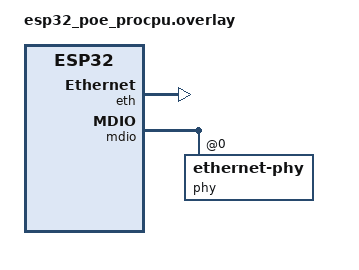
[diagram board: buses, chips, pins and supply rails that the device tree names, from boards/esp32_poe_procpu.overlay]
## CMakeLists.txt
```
cmake_minimum_required(VERSION 3.20.0)
find_package(Zephyr REQUIRED HINTS $ENV{ZEPHYR_BASE})
project(gateway)

include_directories(include)

FILE(GLOB app_sources src/*.c)
target_sources(app PRIVATE ${app_sources})
```

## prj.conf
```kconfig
# ============================================================
# Combined: BLE Central + Ethernet + Oracle MQTT Bridge
# Target: esp32_poe/esp32/procpu  (WROOM — no PSRAM)
#
# NOTE: MbedTLS removed — MQTT connects plaintext to Oracle Cloud VM
# which bridges to Azure IoT Hub over TLS server-side.
# Production path: ESP32-WROVER + restore TLS config below.
# ============================================================

# –– Core ––
CONFIG_INIT_STACKS=y
CONFIG_MAIN_STACK_SIZE=2048
CONFIG_SYSTEM_WORKQUEUE_STACK_SIZE=1536
CONFIG_PRINTK=y
CONFIG_CBPRINTF_FP_SUPPORT=y

# –– Logging ––
CONFIG_LOG=y
CONFIG_LOG_DEFAULT_LEVEL=3
CONFIG_LOG_MODE_DEFERRED=y
CONFIG_LOG_BUFFER_SIZE=512
CONFIG_LOG_BACKEND_UART=y
CONFIG_SHELL=n
CONFIG_SHELL_LOG_BACKEND=n

# –– JSON / UUID ––
CONFIG_JSON_LIBRARY=y
CONFIG_UUID=y
CONFIG_UUID_V4=y

# –– Peripherals ––
CONFIG_GPIO=y
CONFIG_I2C=y
CONFIG_SENSOR=y

# –– Bluetooth Central (GATT client) ––
CONFIG_BT=y
CONFIG_BT_CENTRAL=y
CONFIG_BT_PERIPHERAL=n
CONFIG_BT_GATT_CLIENT=y
CONFIG_BT_MAX_CONN=1
CONFIG_BT_MAX_PAIRED=0
CONFIG_BT_SMP=y
CONFIG_BT_SMP_SC_ONLY=n
CONFIG_BT_BONDABLE=n
CONFIG_BT_BUF_ACL_RX_SIZE=69
CONFIG_BT_BUF_ACL_TX_SIZE=69
CONFIG_BT_L2CAP_TX_MTU=65
CONFIG_BT_L2CAP_TX_BUF_COUNT=3
CONFIG_BT_CONN_TX_MAX=3

# –– Networking Core ––
CONFIG_NETWORKING=y
CONFIG_NET_MGMT=y
CONFIG_NET_MGMT_EVENT=y
CONFIG_NET_MGMT_EVENT_INFO=y
CONFIG_NET_CONFIG_AUTO_INIT=n
CONFIG_NET_CONFIG_SETTINGS=n

# –– Ethernet ––
CONFIG_NET_L2_ETHERNET=y
CONFIG_ETH_DRIVER=y
CONFIG_ETH_ESP32=y

# –– IP / DHCP / Sockets ––
CONFIG_NET_IPV4=y
CONFIG_NET_IPV6=n
CONFIG_NET_DHCPV4=y
CONFIG_NET_TCP=y
CONFIG_NET_SOCKETS=y
CONFIG_POSIX_API=y

# –– DNS ––
CONFIG_DNS_RESOLVER=y
CONFIG_DNS_RESOLVER_AI_MAX_ENTRIES=2

# –– MQTT (plaintext — no TLS) ––
CONFIG_MQTT_LIB=y
CONFIG_MQTT_LIB_TLS=n
CONFIG_MQTT_KEEPALIVE=10

# –– Network Buffers ––
CONFIG_NET_TX_STACK_SIZE=1536
CONFIG_NET_RX_STACK_SIZE=1536
CONFIG_NET_MAX_CONTEXTS=6
CONFIG_NET_PKT_RX_COUNT=12
CONFIG_NET_PKT_TX_COUNT=8
CONFIG_NET_BUF_RX_COUNT=24
CONFIG_NET_BUF_TX_COUNT=16
CONFIG_NET_BUF_DATA_SIZE=512

# –– SNTP ––
CONFIG_SNTP=y

# –– ESP32 memory ––
CONFIG_ESP32_REGION_1_NOINIT=y
```

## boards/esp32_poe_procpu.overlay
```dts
/*
 * esp32_poe_procpu.overlay
 * Place this file in your application source directory:
 *   /Users/ryan/csse4011/repo/prac2/GatewayEthernet/boards/esp32_poe_procpu.overlay
 *
 * Enables the onboard LAN8720 Ethernet PHY.
 * The &eth and &mdio nodes exist in the board DTS but are disabled by default.
 */

&eth {
    status = "okay";
};

&mdio {
    status = "okay";

    phy: ethernet-phy@0 {
        status = "okay";
    };
};
```

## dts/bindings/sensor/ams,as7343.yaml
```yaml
# SPDX-License-Identifier: Apache-2.0
description: AMS AS7343 multispectral light sensor

compatible: "ams,as7343"

include: ["i2c-device.yaml"]

properties:
  reg:
    required: true
    description: I2C address (default 0x39)
```

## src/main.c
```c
/*
 * main.c — Combined BLE Central + Ethernet + Azure IoT Hub Gateway
 *          Target: esp32_poe/esp32/procpu
 *
 * Boot sequence:
 *   1. Ethernet thread — brings up LAN8720, obtains DHCP lease (blocks)
 *   2. Azure MQTT thread — connects to IoT Hub, keepalive loop
 *   3. SNTP sync — sets UTC reference for time_sync_writer
 *   4. BLE threads — scan, connect to sensor nodes, decode + publish
 */

#include <zephyr/kernel.h>
#include <zephyr/logging/log.h>

#include "ethernet.h"        /* replaces wifi.h */
#include "azure_mqtt.h"
#include "bluetooth.h"
#include "sntp_sync.h"

LOG_MODULE_REGISTER(main, LOG_LEVEL_INF);

#define ETH_THREAD_STACK  2048   // was 4096 — thread just does DHCP then exits
#define ETH_THREAD_PRIO   4

K_THREAD_STACK_DEFINE(eth_stack, ETH_THREAD_STACK);
static struct k_thread eth_tid;

/*
 * BLE threads — uncomment and adjust delay once Ethernet + Azure are stable.
 * Delay is 15s: Ethernet/DHCP ~3s + MQTT connect ~5s + margin.
 */
K_THREAD_DEFINE(process_data_tid,
                BASE_PROCESS_STACK_SIZE,
                process_data_thread,
                NULL, NULL, NULL,
                BASE_PROCESS_PRIORITY, 0,
                15000);   // was 15000

K_THREAD_DEFINE(base_tid,
                BASE_CONTROL_STACK_SIZE,
                base_thread,
                NULL, NULL, NULL,
                BASE_CONTROL_PRIORITY, 0,
                15000);   // was 15000

int main(void)
{
    LOG_INF("=== Combined BLE+Ethernet Gateway starting (ESP32-POE) ===");

    /*
     * Start the Ethernet thread and wait for it to return.
     * It only returns after a DHCP lease is obtained.
     */
    k_thread_create(&eth_tid,
                    eth_stack,
                    K_THREAD_STACK_SIZEOF(eth_stack),
                    (k_thread_entry_t)ethernet_thread,
                    NULL, NULL, NULL,
                    ETH_THREAD_PRIO, 0, K_NO_WAIT);
    k_thread_name_set(&eth_tid, "ethernet");
    k_thread_join(&eth_tid, K_FOREVER);   /* block until IP obtained */

    LOG_INF("Ethernet ready — starting Azure MQTT");
    azure_mqtt_thread_start();

    /* Give MQTT a moment to complete TLS handshake before SNTP DNS */
    k_sleep(K_SECONDS(3));

    LOG_INF("Starting SNTP sync");
    sntp_sync_start();

    LOG_INF("Boot complete — BLE threads will start in ~15s");

    return 0;
}
```

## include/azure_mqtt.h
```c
#ifndef AZURE_MQTT_H_
#define AZURE_MQTT_H_

#include <zephyr/kernel.h>
#include <zephyr/net/mqtt.h>

/* -----------------------------------------------------------------------
 * USER CONFIGURATION — fill these in before building
 * --------------------------------------------------------------------- */

/* Oracle Cloud MQTT bridge — plaintext, no TLS required on device.
 * Bridge forwards to Azure IoT Hub over TLS server-side.
 * For production replace with ESP32-WROVER and direct Azure connection. */
#define AZURE_IOT_HUB_HOSTNAME   "161.33.232.177"

/* Device ID registered in your IoT Hub */
#define AZURE_DEVICE_ID          "esp32-device-01"

/* SAS Token — only used for direct Azure connection (TLS mode).
 * Not required for plaintext bridge connection but kept for reference. */
#define AZURE_SAS_TOKEN "SharedAccessSignature sr=iot-hub-esp32-Ryan-Smith.azure-devices.net%2Fdevices%2Fesp32-device-01&sig=dUYE4NNWdgzFTPBah8Z%2FssE2rk3ZYL1sSnihWJBwS%2Fw%3D&se=1774250233"

/* Root CA cert — not used in plaintext bridge mode.
 * Kept for reference for production WROVER deployment. */
#define AZURE_ROOT_CA_CERT \
"-----BEGIN CERTIFICATE-----\r\n"\
"MIIDjjCCAnagAwIBAgIQAzrx5qcRqaC7KGSxHQn65TANBgkqhkiG9w0BAQsFADBh\r\n"\
"MQswCQYDVQQGEwJVUzEVMBMGA1UEChMMRGlnaUNlcnQgSW5jMRkwFwYDVQQLExB3\r\n"\
"d3cuZGlnaWNlcnQuY29tMSAwHgYDVQQDExdEaWdpQ2VydCBHbG9iYWwgUm9vdCBH\r\n"\
"MjAeFw0xMzA4MDExMjAwMDBaFw0zODAxMTUxMjAwMDBaMGExCzAJBgNVBAYTAlVT\r\n"\
"MRUwEwYDVQQKEwxEaWdpQ2VydCBJbmMxGTAXBgNVBAsTEHd3dy5kaWdpY2VydC5j\r\n"\
"b20xIDAeBgNVBAMTF0RpZ2lDZXJ0IEdsb2JhbCBSb290IEcyMIIBIjANBgkqhkiG\r\n"\
"9w0BAQEFAAOCAQ8AMIIBCgKCAQEAuzfNNNx7a8myaJCtSnX/RrohCgiN9RlUyfuI\r\n"\
"2/Ou8jqJkTx65qsGGmvPrC3oXgkkRLpimn7Wo6h+4FR1IAWsULecYxpsMNzaHxmx\r\n"\
"1x7e/dfgy5SDN67sH0NO3Xss0r0upS/kqbitOtSZpLYl6ZtrAGCSYP9PIUkY92eQ\r\n"\
"q2EGnI/yuum06ZIya7XzV+hdG82MHauVBJVJ8zUtluNJbd134/tJS7SsVQepj5Wz\r\n"\
"tCO7TG1F8PapspUwtP1MVYwnSlcUfIKdzXOS0xZKBgyMUNGPHgm+F6HmIcr9g+UQ\r\n"\
"vIOlCsRnKPZzFBQ9RnbDhxSJITRNrw9FDKZJobq7nMWxM4MphQIDAQABo0IwQDAP\r\n"\
"BgNVHRMBAf8EBTADAQH/MA4GA1UdDwEB/wQEAwIBhjAdBgNVHQ4EFgQUTiJUIBiV\r\n"\
"5uNu5g/6+rkS7QYXjzkwDQYJKoZIhvcNAQELBQADggEBAGBnKJRvDkhj6zHd6mcY\r\n"\
"1Yl9PMWLSn/pvtsrF9+wX3N3KjITOYFnQoQj8kVnNeyIv/iPsGEMNKSuIEyExtv4\r\n"\
"NeF22d+mQrvHRAiGfzZ0JFrabA0UWTW98kndth/Jsw1HKj2ZL7tcu7XUIOGZX1NG\r\n"\
"Fdtom/DzMNU+MeKNhJ7jitralj41E6Vf8PlwUHBHQRFXGU7Aj64GxJUTFy8bJZ91\r\n"\
"8rGOmaFvE7FBcf6IKshPECBV1/MUReXgRPTqh5Uykw7+U0b6LJ3/iyK5S9kJRaTe\r\n"\
"pLiaWN0bfVKfjllDiIGknibVb63dDcY3fe0Dkhvld1927jyNxF1WW6LZZm6zNTfl\r\n"\
"MrY=\r\n"\
"-----END CERTIFICATE-----\r\n"

/* -----------------------------------------------------------------------
 * MQTT connection settings
 * --------------------------------------------------------------------- */
/* Plaintext port for Oracle bridge — no TLS on device */
#define AZURE_MQTT_PORT      1883
#define AZURE_MQTT_CLIENT_ID AZURE_DEVICE_ID

/* Username/password not required for anonymous Oracle bridge connection */
#define AZURE_MQTT_USERNAME  ""
#define AZURE_MQTT_TOPIC  "devices/" AZURE_DEVICE_ID "/messages/events/$.ct=application%2Fjson&$.ce=utf-8"
#define AZURE_TLS_TAG        1

/* -----------------------------------------------------------------------
 * Public API
 * --------------------------------------------------------------------- */
int  azure_mqtt_connect(void);
int  azure_mqtt_publish(const char *json);
void azure_mqtt_process(void);
void azure_mqtt_thread(void);
void azure_mqtt_thread_start(void);

#endif /* AZURE_MQTT_H_ */
```

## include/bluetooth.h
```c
#ifndef BASE_SERVICE_H
#define BASE_SERVICE_H

#include <zephyr/kernel.h>
#include <zephyr/types.h>
#include <zephyr/sys/printk.h>
#include <zephyr/bluetooth/bluetooth.h>
#include <zephyr/bluetooth/conn.h>
#include <zephyr/bluetooth/gatt.h>
#include <zephyr/bluetooth/hci.h>
#include <zephyr/bluetooth/uuid.h>

#define BASE_CONTROL_STACK_SIZE 1536
#define BASE_CONTROL_PRIORITY   5

#define BASE_PROCESS_STACK_SIZE 4096   /* needs headroom for 4 KB sound JSON encode */
#define BASE_PROCESS_PRIORITY   5

#define MAX_CONN 2   /* maximum simultaneous BLE peripheral connections */

extern void process_data_thread(void);
extern void base_thread(void);

#endif /* BASE_SERVICE_H */
```

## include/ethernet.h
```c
#ifndef ETHERNET_H_
#define ETHERNET_H_

/**
 * @file ethernet.h
 * @brief Ethernet connection management for ESP32-POE (LAN8720 via RMII).
 *
 * Drop-in replacement for wifi.h / wifi.c.
 * The public API is intentionally identical so that main.c needs only
 * a header-include change.
 */

/* How many times to retry DHCP before giving up and rebooting.
 * Set to 0 for infinite retries (recommended for unattended gateway). */
#define ETH_DHCP_RETRY_COUNT  0

/**
 * @brief Initialise Ethernet management callbacks.
 * Must be called before ethernet_thread().
 */
void ethernet_callbacks_init(void);

/**
 * @brief Blocking thread: brings up the Ethernet interface and obtains an
 * IP address via DHCP.  Returns only after a lease is acquired.
 *
 * Spawn this with k_thread_create() exactly as wifi_thread() was used,
 * then k_thread_join() on it before starting Azure MQTT.
 */
void ethernet_thread(void);

#endif /* ETHERNET_H_ */
```

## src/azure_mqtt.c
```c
/*
 * azure_mqtt.c — MQTT client via Oracle plaintext bridge to Azure IoT Hub
 *
 * Single-threaded MQTT ownership — BLE thread queues messages,
 * azure_mqtt_thread dequeues and publishes. No mutex needed.
 *
 * ESP32-WROOM workaround: BT + MbedTLS cannot coexist in 96KB dram1.
 * Production: ESP32-WROVER + direct TLS to Azure.
 */

#include "azure_mqtt.h"

#include <zephyr/kernel.h>
#include <zephyr/logging/log.h>
#include <zephyr/net/mqtt.h>
#include <zephyr/net/socket.h>
#include <zephyr/random/random.h>
#include <string.h>
#include <errno.h>

LOG_MODULE_REGISTER(azure_mqtt, LOG_LEVEL_INF);

/* ── Message queue ───────────────────────────────────────── */
/* BLE thread writes here, MQTT thread reads and publishes.
 * No shared MQTT client access from BLE thread at all. */
#define MQTT_QUEUE_MAX_LEN   4096  /* max single message size */
#define MQTT_QUEUE_DEPTH     2     /* max queued messages */

struct mqtt_msg {
    char   data[MQTT_QUEUE_MAX_LEN];
    size_t len;
};

K_MSGQ_DEFINE(mqtt_msgq, sizeof(struct mqtt_msg), MQTT_QUEUE_DEPTH, 4);

/* ── MQTT client state ───────────────────────────────────── */
static struct mqtt_client      client;
static struct sockaddr_storage broker_addr;

static uint8_t rx_buf[512];
static uint8_t tx_buf[4608];   /* 4096 payload + 512 MQTT overhead */
static uint8_t payload_buf[MQTT_QUEUE_MAX_LEN];

#define AZURE_MQTT_STACK       6144
#define AZURE_MQTT_PRIO        7
#define RECONNECT_DELAY_MS     5000

static bool connected = false;

/* ── Event handler ───────────────────────────────────────── */
static void mqtt_evt_handler(struct mqtt_client *c, const struct mqtt_evt *evt)
{
    switch (evt->type) {
    case MQTT_EVT_CONNACK:
        if (evt->result == 0) {
            LOG_INF("CONNACK: connected to Oracle MQTT bridge");
            connected = true;
        } else {
            LOG_ERR("CONNACK error: %d", evt->result);
        }
        break;
    case MQTT_EVT_DISCONNECT:
        LOG_WRN("Disconnected: %d", evt->result);
        connected = false;
        break;
    case MQTT_EVT_PUBACK:
        LOG_DBG("PUBACK mid=%u", evt->param.puback.message_id);
        break;
    case MQTT_EVT_PINGRESP:
        LOG_DBG("PINGRESP");
        break;
    default:
        break;
    }
}

/* ── Connect ─────────────────────────────────────────────── */
static int do_connect(void)
{
    struct addrinfo *result;
    struct sockaddr_in *broker4;
    char port_str[8];

    const struct addrinfo hints = {
        .ai_family   = AF_INET,
        .ai_socktype = SOCK_STREAM,
    };

    snprintf(port_str, sizeof(port_str), "%d", AZURE_MQTT_PORT);

    LOG_INF("Connecting to %s:%d ...", AZURE_IOT_HUB_HOSTNAME, AZURE_MQTT_PORT);

    int ret = getaddrinfo(AZURE_IOT_HUB_HOSTNAME, port_str, &hints, &result);
    if (ret != 0) {
        LOG_ERR("DNS failed: %d", ret);
        return -ENETUNREACH;
    }

    broker4 = (struct sockaddr_in *)&broker_addr;
    broker4->sin_addr.s_addr =
        ((struct sockaddr_in *)result->ai_addr)->sin_addr.s_addr;
    broker4->sin_family = AF_INET;
    broker4->sin_port   =
        ((struct sockaddr_in *)result->ai_addr)->sin_port;
    freeaddrinfo(result);

    static char client_id_str[32];
    snprintf(client_id_str, sizeof(client_id_str),
             "esp32-%08x", (uint32_t)k_uptime_get());

    mqtt_client_init(&client);
    LOG_INF("tx_buf size: %zu", sizeof(tx_buf));
    client.tx_buf      = tx_buf;
    client.tx_buf_size = sizeof(tx_buf);
    LOG_INF("client tx_buf_size set to: %u", client.tx_buf_size);

    client.broker           = &broker_addr;
    client.evt_cb           = mqtt_evt_handler;
    client.client_id.utf8   = (uint8_t *)client_id_str;
    client.client_id.size   = strlen(client_id_str);
    client.password         = NULL;
    client.user_name        = NULL;
    client.protocol_version = MQTT_VERSION_3_1_1;
    client.rx_buf           = rx_buf;
    client.rx_buf_size      = sizeof(rx_buf);
    client.tx_buf           = tx_buf;
    client.tx_buf_size      = sizeof(tx_buf);
    client.transport.type   = MQTT_TRANSPORT_NON_SECURE;
    client.keepalive        = CONFIG_MQTT_KEEPALIVE;
    client.clean_session    = 1;

    ret = mqtt_connect(&client);
    if (ret < 0) {
        LOG_ERR("mqtt_connect failed: %d", ret);
        return ret;
    }

    struct zsock_pollfd fds = {
        .fd     = client.transport.tcp.sock,
        .events = ZSOCK_POLLIN,
    };

    int rc = zsock_poll(&fds, 1, 5000);
    if (rc > 0) {
        mqtt_input(&client);
    }

    if (!connected) {
        LOG_ERR("CONNACK timeout");
        mqtt_abort(&client);
        return -ETIMEDOUT;
    }

    LOG_INF("Connected as %s", client_id_str);
    return 0;
}

int azure_mqtt_connect(void)
{
    return do_connect();
}

/* ── Publish (called from BLE thread — just enqueues) ────── */
int azure_mqtt_publish(const char *json)
{
    if (!connected) {
        LOG_WRN("Not connected — skipping publish");
        return -ENOTCONN;
    }

    size_t len = strlen(json);
    if (len >= MQTT_QUEUE_MAX_LEN) {
        LOG_ERR("Payload too large: %zu", len);
        return -EMSGSIZE;
    }

    struct mqtt_msg msg;
    memcpy(msg.data, json, len);
    msg.data[len] = '\0';
    msg.len = len;

    int ret = k_msgq_put(&mqtt_msgq, &msg, K_NO_WAIT);
    if (ret < 0) {
        LOG_WRN("MQTT queue full — message dropped");
        return ret;
    }

    LOG_INF("Queued %zu bytes for publish", len);
    return 0;
}

/* ── Internal publish (called only from MQTT thread) ─────── */
static int do_publish(const struct mqtt_msg *msg)
{   
    memcpy(payload_buf, msg->data, msg->len);

    struct mqtt_publish_param pub = {
        .message = {
            .topic = {
                .qos   = MQTT_QOS_0_AT_MOST_ONCE,
                .topic = {
                    .utf8 = (uint8_t *)AZURE_MQTT_TOPIC,
                    .size = strlen(AZURE_MQTT_TOPIC),
                },
            },
            .payload = {
                .data = payload_buf,
                .len  = msg->len,
            },
        },
        .message_id  = (uint16_t)sys_rand32_get(),
        .dup_flag    = 0,
        .retain_flag = 0,
    };

    int ret = mqtt_publish(&client, &pub);
    if (ret < 0) {
        LOG_ERR("mqtt_publish failed: %d", ret);
        connected = false;
        return ret;
    }

    mqtt_live(&client);
    LOG_INF("Published %zu bytes", msg->len);
    return 0;
}

/* ── Thread ──────────────────────────────────────────────── */
K_THREAD_STACK_DEFINE(azure_mqtt_stack, AZURE_MQTT_STACK);
static struct k_thread azure_mqtt_tid;

void azure_mqtt_thread(void)
{
    LOG_INF("azure_mqtt_thread started");

    struct mqtt_msg msg;
    struct zsock_pollfd fds;

    while (true) {
        /* Reconnect if needed */
        if (!connected) {
            LOG_INF("Connecting to Oracle MQTT bridge ...");
            int ret = azure_mqtt_connect();
            if (ret < 0) {
                LOG_ERR("Connection failed (%d), retrying in %d s",
                        ret, RECONNECT_DELAY_MS / 1000);
                k_sleep(K_MSEC(RECONNECT_DELAY_MS));
                continue;
            }
        }

        /* Check for queued messages from BLE thread — non-blocking */
        if (k_msgq_get(&mqtt_msgq, &msg, K_NO_WAIT) == 0) {
            do_publish(&msg);
        }

        /* Poll for incoming MQTT packets and send keepalives */
        fds.fd     = client.transport.tcp.sock;
        fds.events = ZSOCK_POLLIN;
        if (zsock_poll(&fds, 1, 100) > 0) {
            mqtt_input(&client);
        }
        mqtt_live(&client);
        LOG_DBG("mqtt_live called");  /* add this temporarily */
    }
}

void azure_mqtt_thread_start(void)
{
    k_thread_create(&azure_mqtt_tid,
                    azure_mqtt_stack,
                    K_THREAD_STACK_SIZEOF(azure_mqtt_stack),
                    (k_thread_entry_t)azure_mqtt_thread,
                    NULL, NULL, NULL,
                    AZURE_MQTT_PRIO, 0, K_NO_WAIT);
    k_thread_name_set(&azure_mqtt_tid, "azure_mqtt");
}
```

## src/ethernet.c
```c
/*
 * ethernet.c — Ethernet (LAN8720/RMII) connection management
 *              for ESP32-POE running Zephyr.
 */

#include "ethernet.h"

#include <zephyr/kernel.h>
#include <zephyr/logging/log.h>
#include <zephyr/net/net_if.h>
#include <zephyr/net/net_event.h>
#include <zephyr/net/net_mgmt.h>
#include <zephyr/net/dhcpv4.h>
#include <zephyr/net/net_ip.h>

LOG_MODULE_REGISTER(ethernet, LOG_LEVEL_INF);

/* Semaphore posted once we have an IPv4 address */
static K_SEM_DEFINE(eth_dhcp_sem, 0, 1);

/* Cached IP for logging */
static char ip_addr_str[NET_IPV4_ADDR_LEN];

/* ── Net-mgmt event mask ────────────────────────────────── */
/* Use NET_EVENT_IPV4_ADDR_ADD — fired reliably when any IPv4
 * address is assigned, whether by DHCP or static config.
 * NET_EVENT_IPV4_DHCP_BOUND can be missed if the callback is
 * registered after the DHCP state machine has already advanced. */
#define ETH_EVENTS  (NET_EVENT_IPV4_ADDR_ADD | NET_EVENT_IF_UP)

static struct net_mgmt_event_callback eth_cb;

static void eth_event_handler(struct net_mgmt_event_callback *cb,
                              uint32_t event,
                              struct net_if *iface)
{
    switch (event) {

    case NET_EVENT_IF_UP:
        LOG_INF("Ethernet link UP — waiting for DHCP lease...");
        break;

    case NET_EVENT_IPV4_ADDR_ADD: {
        /* An IPv4 address was added to the interface — DHCP succeeded */
        struct net_if_ipv4 *ipv4 = iface->config.ip.ipv4;
        if (ipv4) {
            net_addr_ntop(AF_INET,
                          &ipv4->unicast[0].ipv4.address.in_addr,
                          ip_addr_str, sizeof(ip_addr_str));
            LOG_INF("IPv4 address assigned: %s", ip_addr_str);
        }
        k_sem_give(&eth_dhcp_sem);
        break;
    }

    default:
        break;
    }
}

/* ── Public API ─────────────────────────────────────────── */

// void ethernet_thread(void)
// {
//     LOG_INF("ethernet_thread: starting");

//     /* Register callbacks BEFORE starting DHCP so no event is missed */
//     net_mgmt_init_event_callback(&eth_cb, eth_event_handler, ETH_EVENTS);
//     net_mgmt_add_event_callback(&eth_cb);

//     struct net_if *iface = net_if_get_first_by_type(&NET_L2_GET_NAME(ETHERNET));
//     if (!iface) {
//         LOG_ERR("No Ethernet interface found — check DTS / Kconfig");
//         while (true) { k_sleep(K_SECONDS(5)); }
//     }

//     LOG_INF("Found Ethernet interface: %s", net_if_get_device(iface)->name);

//     int ret = net_if_up(iface);
//     if (ret < 0 && ret != -EALREADY) {
//         LOG_ERR("net_if_up failed: %d", ret);
//     }

//     /* Small delay to ensure PHY link is stable before DHCP */
//     k_sleep(K_SECONDS(2));

//     net_dhcpv4_start(iface);
//     LOG_INF("DHCP started — waiting for lease...");

//     /* Block until IPv4 address assigned */
//     k_sem_take(&eth_dhcp_sem, K_FOREVER);

//     LOG_INF("Ethernet ready — IP: %s", ip_addr_str);
// }

// void ethernet_thread(void)
// {
//     LOG_INF("ethernet_thread: starting");

//     net_mgmt_init_event_callback(&eth_cb, eth_event_handler, ETH_EVENTS);
//     net_mgmt_add_event_callback(&eth_cb);

//     struct net_if *iface = net_if_get_first_by_type(&NET_L2_GET_NAME(ETHERNET));
//     if (!iface) {
//         LOG_ERR("No Ethernet interface found");
//         while (true) { k_sleep(K_SECONDS(5)); }
//     }

//     net_if_up(iface);
//     k_sleep(K_SECONDS(2));
//     net_dhcpv4_start(iface);
//     LOG_INF("DHCP started — polling for lease...");

//     /* Diagnostic + poll loop */
//     while (true) {
//         struct net_if_ipv4 *ipv4 = iface->config.ip.ipv4;
//         if (ipv4 && ipv4->unicast[0].ipv4.address.in_addr.s_addr != 0) {
//             net_addr_ntop(AF_INET,
//                           &ipv4->unicast[0].ipv4.address.in_addr,
//                           ip_addr_str, sizeof(ip_addr_str));
//             LOG_INF("Ethernet ready — IP: %s", ip_addr_str);
//             return;
//         }
//         LOG_INF("DHCP state: %d  IP: none",
//                 iface->config.dhcpv4.state);
//         k_sleep(K_SECONDS(3));
//     }
// }

void ethernet_thread(void)
{
    LOG_INF("ethernet_thread: starting");

    net_mgmt_init_event_callback(&eth_cb, eth_event_handler, ETH_EVENTS);
    net_mgmt_add_event_callback(&eth_cb);

    struct net_if *iface = net_if_get_first_by_type(&NET_L2_GET_NAME(ETHERNET));
    if (!iface) {
        LOG_ERR("No Ethernet interface found");
        while (true) { k_sleep(K_SECONDS(5)); }
    }

    net_if_up(iface);
    k_sleep(K_SECONDS(2));
    net_dhcpv4_start(iface);
    LOG_INF("DHCP started — polling for lease...");

    while (true) {
        struct net_if_ipv4 *ipv4 = iface->config.ip.ipv4;
        if (ipv4 && ipv4->unicast[0].ipv4.address.in_addr.s_addr != 0) {
            char gw_str[NET_IPV4_ADDR_LEN];
            char nm_str[NET_IPV4_ADDR_LEN];
            net_addr_ntop(AF_INET,
                          &ipv4->unicast[0].ipv4.address.in_addr,
                          ip_addr_str, sizeof(ip_addr_str));
            net_addr_ntop(AF_INET, &ipv4->gw,
                          gw_str, sizeof(gw_str));
            net_addr_ntop(AF_INET,
                          &ipv4->unicast[0].netmask,
                          nm_str, sizeof(nm_str));
            LOG_INF("Ethernet ready — IP: %s  GW: %s  NM: %s",
                    ip_addr_str, gw_str, nm_str);
            return;
        }
        LOG_INF("DHCP state: %d  IP: none",
                iface->config.dhcpv4.state);
        k_sleep(K_SECONDS(3));
    }
}
```

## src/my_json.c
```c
#include <zephyr/logging/log.h>
#include <zephyr/logging/log_ctrl.h>
#include <zephyr/sys/uuid.h>
#include "my_json.h"
#include <string.h>
#include <stdio.h>
#include <time.h>

LOG_MODULE_REGISTER(json_module);

const uint16_t AS7343_WL[AS7343_NUM_CH] = {
    405, 425, 450, 475, 515, 550, 555, 600, 640, 690, 745, 855, 999
};

/* ── Sensor telemetry JSON format string ─────────────────── */
const char JSON_FORMAT[] =
    "{"
      "\"header\":{"
        "\"messageId\":\"%s\","
        "\"gatewayId\":\"%s\","
        "\"schemaVersion\":\"%s\","
        "\"messageType\":\"%s\""
      "},"
      "\"payload\":{"
        "\"deviceId\":\"%s\","
        "\"timestamp\":\"%s\","
        "\"uptime_ms\":%u,"
        "\"proto_ver\":%u,"
        "\"environment\":{"
          "\"temperature_c\":%.2f,"
          "\"humidity_percent\":%.2f,"
          "\"pressure_hpa\":%.3f,"
          "\"eco2_ppm\":%u,"
          "\"tvoc_ppb\":%u,"
          "\"aqi\":%u,"
          "\"batt_mV\":%u"
        "},"
        "\"spectrum\":{"
          "\"AS7343_405nm\":%u,"
          "\"AS7343_425nm\":%u,"
          "\"AS7343_450nm\":%u,"
          "\"AS7343_475nm\":%u,"
          "\"AS7343_515nm\":%u,"
          "\"AS7343_550nm\":%u,"
          "\"AS7343_555nm\":%u,"
          "\"AS7343_600nm\":%u,"
          "\"AS7343_640nm\":%u,"
          "\"AS7343_690nm\":%u,"
          "\"AS7343_745nm\":%u,"
          "\"AS7343_855nm\":%u,"
          "\"AS7343_VISIBLE\":%u"
        "},"
        "\"sound\":{"
          "\"rms_dbfs\":%.2f,"
          "\"peak_freq_hz\":%u,"
          "\"peak_mag\":%.1f"
        "},"
        "\"soil\":{"
          "\"vwc_percent\":%.2f"
        "}"
      "}"
    "}";

/* ── UUID helper ────────────────────────────────────────── */
static void generate_uuid(char *uuid_str)
{
    struct uuid u;
    if (uuid_generate_v4(&u) != 0) { uuid_str[0] = '\0'; return; }
    if (uuid_to_string(&u, uuid_str) != 0) { uuid_str[0] = '\0'; }
}

/* ── fill_json_packet ───────────────────────────────────── */
void fill_json_packet(const tracker_payload_t *p, struct json_full_packet *j)
{
    if (!p || !j) return;
    memset(j, 0, sizeof(*j));

    /* Header */
    char uuid_str[UUID_STR_LEN] = {0};
    generate_uuid(uuid_str);
    snprintk(j->header.messageId, sizeof(j->header.messageId),
             "%s", uuid_str[0] ? uuid_str : "00000000-0000-0000-0000-000000000000");
    snprintk(j->header.gatewayId,     sizeof(j->header.gatewayId),     "GW-01");
    snprintk(j->header.schemaVersion, sizeof(j->header.schemaVersion), "1");
    snprintk(j->header.messageType,   sizeof(j->header.messageType),   "telemetry");

    /* Payload — top level */
    snprintk(j->payload.deviceId, sizeof(j->payload.deviceId), "dev-%u", p->dev_id);

    time_t raw = (time_t)p->time;
    struct tm tm_utc;
    if (gmtime_r(&raw, &tm_utc) == NULL) {
        snprintk(j->payload.timestamp, sizeof(j->payload.timestamp), "%u", p->time);
    } else {
        snprintk(j->payload.timestamp, sizeof(j->payload.timestamp),
                 "%04d-%02d-%02dT%02d:%02d:%02d.%03uZ",
                 tm_utc.tm_year + 1900, tm_utc.tm_mon + 1, tm_utc.tm_mday,
                 tm_utc.tm_hour, tm_utc.tm_min, tm_utc.tm_sec, p->time_ms);
    }
    j->payload.uptime_ms = p->uptime_ms;
    j->payload.proto_ver = p->proto_ver;

    /* Environment */
    j->payload.environment.temperature_c    = (double)p->temp_c_x100    / 100.0;
    j->payload.environment.humidity_percent = (double)p->rh_x100        / 100.0;
    j->payload.environment.pressure_hpa     = (double)p->press_hPa_x1000 / 1000.0;
    j->payload.environment.eco2_ppm = p->eco2_ppm;
    j->payload.environment.tvoc_ppb = p->tvoc_ppb;
    j->payload.environment.aqi      = p->aqi;
    j->payload.environment.batt_mV  = p->batt_mV;

    /* AS7343 light spectrum */
    j->payload.spectrum.AS7343_405nm   = p->as7343[0];
    j->payload.spectrum.AS7343_425nm   = p->as7343[1];
    j->payload.spectrum.AS7343_450nm   = p->as7343[2];
    j->payload.spectrum.AS7343_475nm   = p->as7343[3];
    j->payload.spectrum.AS7343_515nm   = p->as7343[4];
    j->payload.spectrum.AS7343_550nm   = p->as7343[5];
    j->payload.spectrum.AS7343_555nm   = p->as7343[6];
    j->payload.spectrum.AS7343_600nm   = p->as7343[7];
    j->payload.spectrum.AS7343_640nm   = p->as7343[8];
    j->payload.spectrum.AS7343_690nm   = p->as7343[9];
    j->payload.spectrum.AS7343_745nm   = p->as7343[10];
    j->payload.spectrum.AS7343_855nm   = p->as7343[11];
    j->payload.spectrum.AS7343_VISIBLE = p->as7343[12];

    /* Sound summary */
    j->payload.sound.rms_dbfs     = (double)p->snd_rms_dbfs_x100 / 100.0;
    j->payload.sound.peak_freq_hz = p->snd_peak_freq_hz;
    j->payload.sound.peak_mag     = (double)p->snd_peak_mag_x10  / 10.0;

    /* Soil moisture */
    j->payload.soil_vwc = (double)p->soil_vwc_x100 / 100.0;
}

/* ── encode_and_print_json ──────────────────────────────── */
void encode_and_print_json(const struct json_full_packet *j)
{
    static char json_output[JSON_BUFFER_SIZE]; 

    int ret = snprintk(json_output, sizeof(json_output),
        JSON_FORMAT,
        j->header.messageId,
        j->header.gatewayId,
        j->header.schemaVersion,
        j->header.messageType,
        j->payload.deviceId,
        j->payload.timestamp,
        j->payload.uptime_ms,
        j->payload.proto_ver,
        j->payload.environment.temperature_c,
        j->payload.environment.humidity_percent,
        j->payload.environment.pressure_hpa,
        j->payload.environment.eco2_ppm,
        j->payload.environment.tvoc_ppb,
        j->payload.environment.aqi,
        j->payload.environment.batt_mV,
        j->payload.spectrum.AS7343_405nm,
        j->payload.spectrum.AS7343_425nm,
        j->payload.spectrum.AS7343_450nm,
        j->payload.spectrum.AS7343_475nm,
        j->payload.spectrum.AS7343_515nm,
        j->payload.spectrum.AS7343_550nm,
        j->payload.spectrum.AS7343_555nm,
        j->payload.spectrum.AS7343_600nm,
        j->payload.spectrum.AS7343_640nm,
        j->payload.spectrum.AS7343_690nm,
        j->payload.spectrum.AS7343_745nm,
        j->payload.spectrum.AS7343_855nm,
        j->payload.spectrum.AS7343_VISIBLE,
        j->payload.sound.rms_dbfs,
        j->payload.sound.peak_freq_hz,
        j->payload.sound.peak_mag,
        j->payload.soil_vwc
    );

    if (ret > 0 && ret < (int)sizeof(json_output)) {
        printk("%s\n", json_output);
    } else {
        printk("JSON encoding failed (ret=%d)\n", ret);
    }
    log_flush();
}

/* ── encode_sound_json ──────────────────────────────────── */
int encode_sound_json(const sound_payload_t *sp, char *buf, size_t buf_size)
{
    if (!sp || !buf) return -EINVAL;

    char uuid_str[UUID_STR_LEN] = {0};
    generate_uuid(uuid_str);

    /* Fixed header section */
    int pos = snprintk(buf, buf_size,
        "{"
          "\"header\":{"
            "\"messageId\":\"%s\","
            "\"gatewayId\":\"GW-01\","
            "\"schemaVersion\":\"1\","
            "\"messageType\":\"sound_spectrum\""
          "},"
          "\"payload\":{"
            "\"deviceId\":\"dev-%u\","
            "\"uptime_ms\":%u,"
            "\"rms_dbfs\":%.2f,"
            "\"bin_low_hz\":43,"
            "\"bin_res_hz\":43,"
            "\"bins\":[",
        uuid_str[0] ? uuid_str : "00000000-0000-0000-0000-000000000000",
        (unsigned)sp->dev_id,
        (unsigned)sp->uptime_ms,
        (double)sp->rms_dbfs_x100 / 100.0
    );

    if (pos <= 0 || (size_t)pos >= buf_size) return -ENOMEM;

    /* 348 bin values — built iteratively to avoid a giant format string */
    for (int i = 0; i < SOUND_NUM_BINS; i++) {
        double mag = (double)sp->bins[i] / 10.0;
        int w = snprintk(buf + pos, buf_size - pos,
                         (i < SOUND_NUM_BINS - 1) ? "%.1f," : "%.1f", mag);
        if (w <= 0 || (size_t)(pos + w) >= buf_size) {
            LOG_ERR("Sound JSON buffer overflow at bin %d", i);
            return -ENOMEM;
        }
        pos += w;
    }

    /* Close */
    int tail = snprintk(buf + pos, buf_size - pos, "]}}");
    if (tail <= 0) return -ENOMEM;
    pos += tail;

    return pos;
}
```

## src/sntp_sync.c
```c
/*
 * sntp_sync.c — Combined BLE + WiFi Gateway (ESP32 WROVER)
 *
 * Periodically queries an NTP server and calls time_sync_writer_set_utc()
 * directly. The time_sync_writer then distributes UTC to all connected
 * sensor nodes via GATT WRITE inside process_data_thread().
 *
 * On the combined gateway there is no UART bridge and no 0xCC frame —
 * the UTC reference is set in-process.
 */

#include "sntp_sync.h"
#include "time_sync_writer.h"

#include <zephyr/kernel.h>
#include <zephyr/net/sntp.h>
#include <zephyr/net/socket.h>
#include <zephyr/logging/log.h>

#include <time.h>

LOG_MODULE_REGISTER(sntp_sync, LOG_LEVEL_INF);

#define SNTP_SERVER              "pool.ntp.org"
#define SNTP_PORT                123
#define SNTP_TIMEOUT_MS          5000
#define SNTP_RESYNC_INTERVAL_S   60
#define SNTP_RETRY_DELAY_MS      10000

#define SNTP_STACK_SIZE  2048
#define SNTP_PRIORITY    6

K_THREAD_STACK_DEFINE(sntp_stack, SNTP_STACK_SIZE);
static struct k_thread sntp_tid;

/* Last successful UTC — accessible via sntp_get_last_utc() */
static uint32_t last_utc_time   = 0;
static uint16_t last_utc_ms     = 0;
static uint32_t last_utc_set_ms = 0;

uint32_t sntp_get_last_utc(uint16_t *out_ms)
{
    if (last_utc_time == 0) {
        if (out_ms) *out_ms = 0;
        return 0;
    }
    uint32_t elapsed_ms = k_uptime_get_32() - last_utc_set_ms;
    uint32_t total_ms   = last_utc_ms + elapsed_ms;
    uint32_t sec        = last_utc_time + (total_ms / 1000U);
    uint16_t ms         = (uint16_t)(total_ms % 1000U);
    if (out_ms) *out_ms = ms;
    return sec;
}

static int do_sntp_query(uint32_t *utc_out, uint16_t *ms_out)
{
    struct sntp_time sntp_time;
    struct sockaddr_in addr = {0};

    struct addrinfo *result;
    const struct addrinfo hints = {
        .ai_family   = AF_INET,
        .ai_socktype = SOCK_DGRAM,
    };

    int ret = getaddrinfo(SNTP_SERVER, NULL, &hints, &result);
    if (ret != 0) {
        LOG_ERR("DNS failed for %s: %d", SNTP_SERVER, ret);
        return -ENETUNREACH;
    }

    addr.sin_family = AF_INET;
    addr.sin_port   = htons(SNTP_PORT);
    addr.sin_addr   = ((struct sockaddr_in *)result->ai_addr)->sin_addr;
    freeaddrinfo(result);

    ret = sntp_simple_addr((struct sockaddr *)&addr, sizeof(addr),
                           SNTP_TIMEOUT_MS, &sntp_time);
    if (ret < 0) {
        LOG_ERR("SNTP query failed: %d", ret);
        return ret;
    }

    *utc_out = (uint32_t)(sntp_time.seconds);
    *ms_out  = (uint16_t)(((uint64_t)sntp_time.fraction * 1000ULL) >> 32);

    /* Store for sntp_get_last_utc() */
    last_utc_time   = *utc_out;
    last_utc_ms     = *ms_out;
    last_utc_set_ms = k_uptime_get_32();

    time_t t = (time_t)(*utc_out);
    struct tm *tm = gmtime(&t);
    LOG_INF("SNTP: UTC = %u (%04d-%02d-%02d %02d:%02d:%02d UTC)",
        *utc_out,
        tm->tm_year + 1900, tm->tm_mon + 1, tm->tm_mday,
        tm->tm_hour, tm->tm_min, tm->tm_sec);

    return 0;
}

static void sntp_thread(void)
{
    LOG_INF("SNTP sync thread started");

    while (true) {
        uint32_t utc = 0;
        uint16_t ms  = 0;
        int ret = do_sntp_query(&utc, &ms);

        if (ret == 0) {
            /* Set UTC reference directly — no UART frame needed */
            time_sync_writer_set_utc(utc, ms);
        } else {
            LOG_WRN("SNTP failed (%d), retrying in %d ms",
                    ret, SNTP_RETRY_DELAY_MS);
            k_sleep(K_MSEC(SNTP_RETRY_DELAY_MS));
            continue;
        }

        k_sleep(K_SECONDS(SNTP_RESYNC_INTERVAL_S));
    }
}

void sntp_sync_start(void)
{
    k_thread_create(&sntp_tid,
                    sntp_stack,
                    K_THREAD_STACK_SIZEOF(sntp_stack),
                    (k_thread_entry_t)sntp_thread,
                    NULL, NULL, NULL,
                    SNTP_PRIORITY, 0, K_NO_WAIT);
    k_thread_name_set(&sntp_tid, "sntp_sync");
}
```
